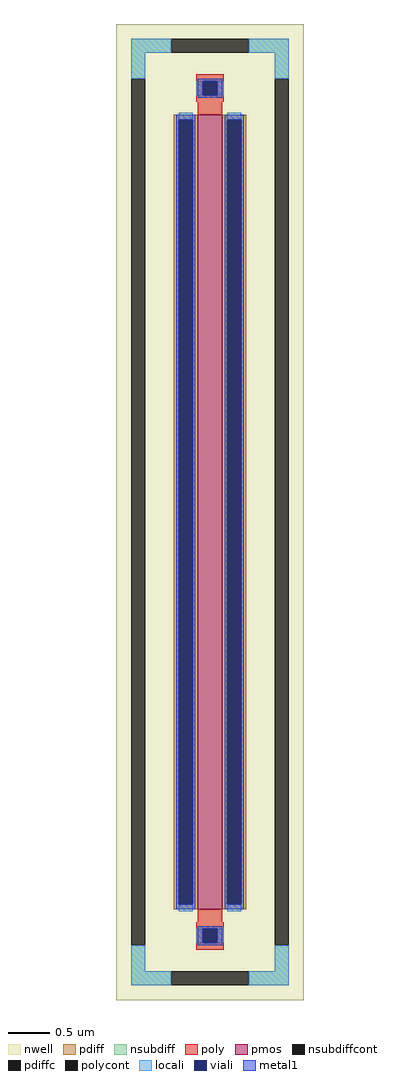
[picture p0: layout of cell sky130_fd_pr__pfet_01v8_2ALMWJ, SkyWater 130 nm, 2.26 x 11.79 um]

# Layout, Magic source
magic
tech sky130A
magscale 1 2
<< nwell >>
rect -226 -1179 226 1179
<< pmos >>
rect -30 -960 30 960
<< pdiff >>
rect -88 948 -30 960
rect -88 -948 -76 948
rect -42 -948 -30 948
rect -88 -960 -30 -948
rect 30 948 88 960
rect 30 -948 42 948
rect 76 -948 88 948
rect 30 -960 88 -948
<< pdiffc >>
rect -76 -948 -42 948
rect 42 -948 76 948
<< nsubdiff >>
rect -190 1109 -94 1143
rect 94 1109 190 1143
rect -190 1047 -156 1109
rect 156 1047 190 1109
rect -190 -1109 -156 -1047
rect 156 -1109 190 -1047
rect -190 -1143 -94 -1109
rect 94 -1143 190 -1109
<< nsubdiffcont >>
rect -94 1109 94 1143
rect -190 -1047 -156 1047
rect 156 -1047 190 1047
rect -94 -1143 94 -1109
<< poly >>
rect -33 1041 33 1057
rect -33 1007 -17 1041
rect 17 1007 33 1041
rect -33 991 33 1007
rect -30 960 30 991
rect -30 -991 30 -960
rect -33 -1007 33 -991
rect -33 -1041 -17 -1007
rect 17 -1041 33 -1007
rect -33 -1057 33 -1041
<< polycont >>
rect -17 1007 17 1041
rect -17 -1041 17 -1007
<< locali >>
rect -190 1109 -94 1143
rect 94 1109 190 1143
rect -190 1047 -156 1109
rect 156 1047 190 1109
rect -33 1007 -17 1041
rect 17 1007 33 1041
rect -76 948 -42 964
rect -76 -964 -42 -948
rect 42 948 76 964
rect 42 -964 76 -948
rect -33 -1041 -17 -1007
rect 17 -1041 33 -1007
rect -190 -1109 -156 -1047
rect 156 -1109 190 -1047
rect -190 -1143 -94 -1109
rect 94 -1143 190 -1109
<< viali >>
rect -17 1007 17 1041
rect -76 -948 -42 948
rect 42 -948 76 948
rect -17 -1041 17 -1007
<< metal1 >>
rect -29 1041 29 1047
rect -29 1007 -17 1041
rect 17 1007 29 1041
rect -29 1001 29 1007
rect -82 948 -36 960
rect -82 -948 -76 948
rect -42 -948 -36 948
rect -82 -960 -36 -948
rect 36 948 82 960
rect 36 -948 42 948
rect 76 -948 82 948
rect 36 -960 82 -948
rect -29 -1007 29 -1001
rect -29 -1041 -17 -1007
rect 17 -1041 29 -1007
rect -29 -1047 29 -1041
<< properties >>
string FIXED_BBOX -173 -1126 173 1126
string gencell sky130_fd_pr__pfet_01v8
string library sky130
string parameters w 9.6 l 0.3 m 1 nf 1 diffcov 100 polycov 100 guard 1 glc 1 grc 1 gtc 1 gbc 1 tbcov 100 rlcov 100 topc 1 botc 1 poverlap 0 doverlap 1 lmin 0.15 wmin 0.42 compatible {sky130_fd_pr__pfet_01v8  sky130_fd_pr__pfet_01v8_lvt sky130_fd_pr__pfet_01v8_hvt  sky130_fd_pr__pfet_g5v0d10v5} full_metal 1 viasrc 100 viadrn 100 viagate 100 viagb 0 viagr 0 viagl 0 viagt 0
<< end >>
